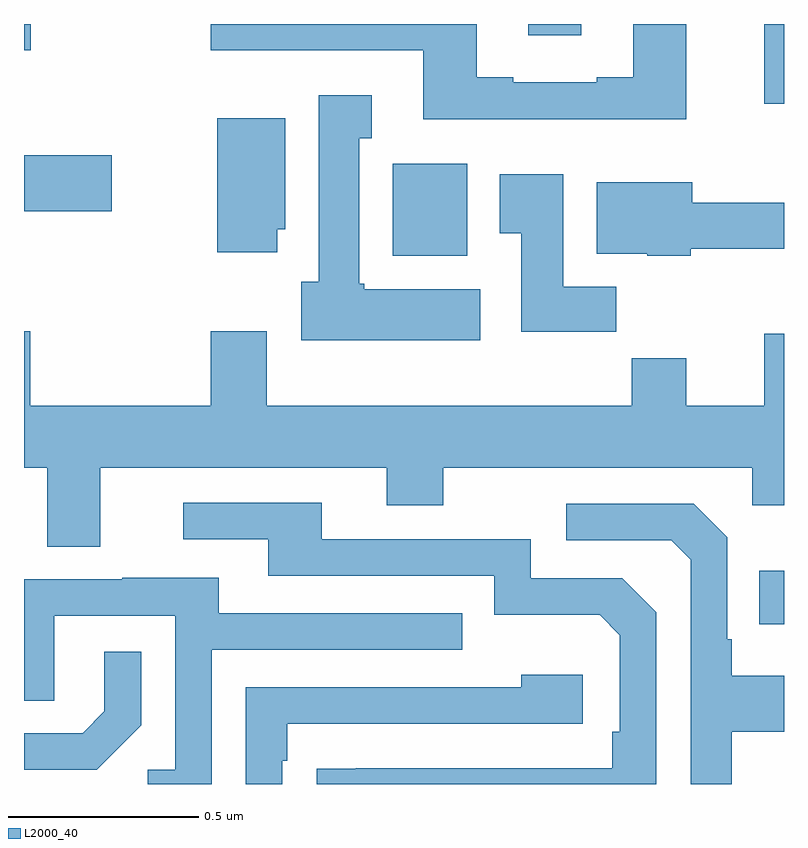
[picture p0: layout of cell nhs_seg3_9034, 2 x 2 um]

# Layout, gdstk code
import gdstk
lib = gdstk.Library(unit=1e-6, precision=1e-09)
def R(c, l, rs):  # rectangles x0, y0, x1, y1
    for r in rs: c.add(gdstk.rectangle(r[:2], r[2:], *l))
def P(c, l, *ps):  # polygons
    for p in ps: c.add(gdstk.Polygon(p, *l))
L2000_40 = (2000, 40)

nhs_seg3_9034 = lib.new_cell('nhs_seg3_9034')
R(nhs_seg3_9034, L2000_40, [(224.935,717.821,225,717.961), (223.97,718.79,224.167,719.032), (223,718.907,223.231,719.054), (224.948,719.19,225,719.4), (223,719.331,223.018,719.4), (224.327,719.37,224.467,719.4)])
P(nhs_seg3_9034, L2000_40, [(224.743,719.4),(224.603,719.4),(224.603,719.26),(224.507,719.26),(224.507,719.247),(224.287,719.247),(224.287,719.26),(224.191,719.26),(224.191,719.4),(223.491,719.4),(223.491,719.331),(224.051,719.331),(224.051,719.15),(224.743,719.15)],
  [(224.2,718.702),(223.896,718.702),(223.896,718.716),(223.882,718.716),(223.882,719.099),(223.915,719.099),(223.915,719.212),(223.775,719.212),(223.775,718.722),(223.73,718.722),(223.73,718.568),(224.2,718.568)],
  [(223.666,718.86),(223.687,718.86),(223.687,719.152),(223.508,719.152),(223.508,718.8),(223.666,718.8)],
  [(224.558,718.708),(224.419,718.708),(224.419,719.005),(224.252,719.005),(224.252,718.849),(224.309,718.849),(224.309,718.59),(224.558,718.59)],
  [(224.754,718.808),(225,718.808),(225,718.93),(224.758,718.93),(224.758,718.984),(224.507,718.984),(224.507,718.796),(224.64,718.796),(224.64,718.79),(224.754,718.79)],
  [(223.201,718.232),(223.955,718.232),(223.955,718.133),(224.103,718.133),(224.103,718.232),(224.916,718.232),(224.916,718.133),(225,718.133),(225,718.585),(224.948,718.585),(224.948,718.396),(224.743,718.396),(224.743,718.52),(224.599,718.52),(224.599,718.396),(223.639,718.396),(223.639,718.591),(223.492,718.591),(223.492,718.396),(223.017,718.396),(223.017,718.591),(223,718.591),(223,718.232),(223.061,718.232),(223.061,718.024),(223.201,718.024)],
  [(224.664,717.852),(224.574,717.942),(224.334,717.942),(224.334,718.044),(223.783,718.044),(223.783,718.14),(223.419,718.14),(223.419,718.044),(223.643,718.044),(223.643,717.948),(224.238,717.948),(224.238,717.845),(224.515,717.845),(224.568,717.792),(224.568,717.538),(224.548,717.538),(224.548,717.441),(223.873,717.441),(223.873,717.44),(223.771,717.44),(223.771,717.4),(224.664,717.4)],
  [(224.863,717.538),(225,717.538),(225,717.685),(224.863,717.685),(224.863,717.781),(224.85,717.781),(224.85,718.05),(224.763,718.137),(224.427,718.137),(224.427,718.041),(224.703,718.041),(224.754,717.99),(224.754,717.4),(224.863,717.4)],
  [(223.494,717.753),(224.153,717.753),(224.153,717.849),(223.513,717.849),(223.513,717.943),(223.259,717.943),(223.259,717.939),(223,717.939),(223,717.619),(223.08,717.619),(223.08,717.843),(223.398,717.843),(223.398,717.438),(223.326,717.438),(223.326,717.4),(223.494,717.4)],
  [(223.308,717.554),(223.308,717.748),(223.211,717.748),(223.211,717.591),(223.154,717.534),(223,717.534),(223,717.438),(223.192,717.438)],
  [(223.68,717.461),(223.693,717.461),(223.693,717.558),(224.47,717.558),(224.47,717.688),(224.309,717.688),(224.309,717.654),(223.584,717.654),(223.584,717.4),(223.68,717.4)])

lib.write_gds('nhs_seg3_9034.gds')
